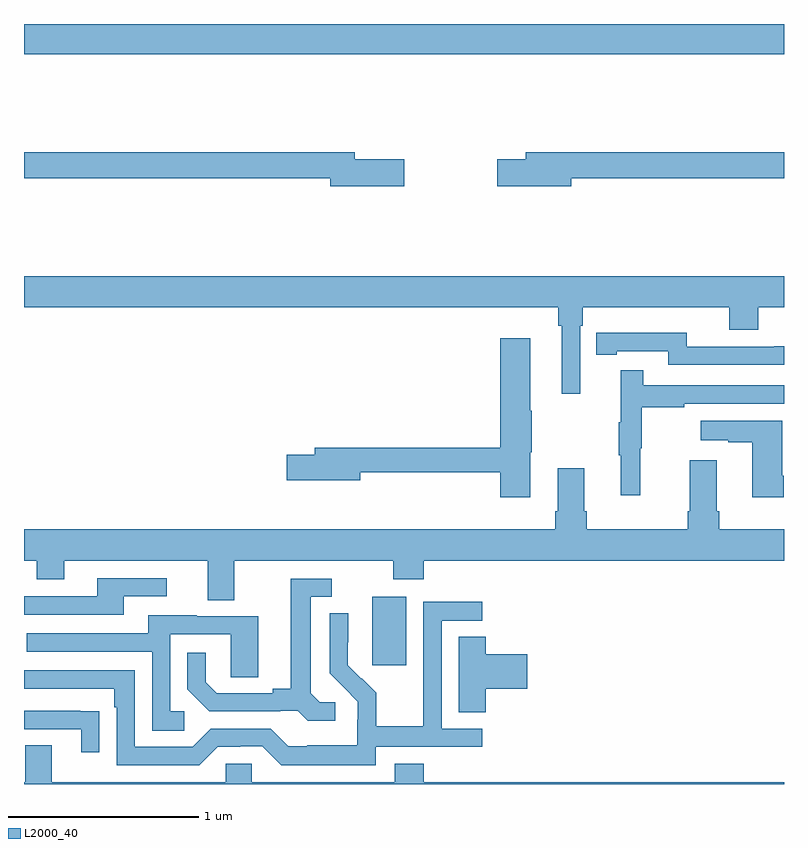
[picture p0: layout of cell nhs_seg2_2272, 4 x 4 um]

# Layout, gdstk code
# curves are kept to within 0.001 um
import gdstk
lib = gdstk.Library(unit=1e-6, precision=1e-09)
def R(c, l, rs):  # rectangles x0, y0, x1, y1
    for r in rs: c.add(gdstk.rectangle(r[:2], r[2:], *l))
def P(c, l, *ps):  # polygons
    for p in ps: c.add(gdstk.Polygon(p, *l))
L2000_40 = (2000, 40)

nhs_seg2_2272 = lib.new_cell('nhs_seg2_2272')
R(nhs_seg2_2272, L2000_40, [(230.834,640.425,231.013,640.786), (229,643.64,233,643.8)])
P(nhs_seg2_2272, L2000_40, [(231.001,643.088),(230.74,643.088),(230.74,643.124),(229,643.124),(229,642.988),(230.612,642.988),(230.612,642.946),(231.001,642.946)],
  [(231.88,642.988),(233,642.988),(233,643.124),(231.641,643.124),(231.641,643.088),(231.492,643.088),(231.492,642.946),(231.88,642.946)],
  [(231.927,642.212),(231.941,642.212),(231.941,642.308),(232.712,642.308),(232.712,642.191),(232.865,642.191),(232.865,642.308),(233,642.308),(233,642.472),(229,642.472),(229,642.308),(231.811,642.308),(231.811,642.212),(231.83,642.212),(231.83,641.853),(231.927,641.853)],
  [(233,642.104),(232.948,642.104),(232.948,642.102),(232.488,642.102),(232.488,642.175),(232.12,642.175),(232.12,642.174),(232.012,642.174),(232.012,642.058),(232.12,642.058),(232.12,642.078),(232.392,642.078),(232.392,642.006),(233,642.006)],
  [(231.664,641.547),(231.672,641.547),(231.672,641.765),(231.664,641.765),(231.664,642.145),(231.506,642.145),(231.506,641.57),(230.531,641.57),(230.531,641.534),(230.382,641.534),(230.382,641.399),(230.77,641.399),(230.77,641.442),(231.506,641.442),(231.506,641.31),(231.664,641.31)],
  [(232.244,641.568),(232.252,641.568),(232.252,641.782),(232.475,641.782),(232.475,641.802),(233,641.802),(233,641.898),(232.259,641.898),(232.259,641.977),(232.142,641.977),(232.142,641.705),(232.131,641.705),(232.131,641.531),(232.142,641.531),(232.142,641.319),(232.244,641.319)],
  [(232.998,641.422),(232.99,641.422),(232.99,641.713),(232.563,641.713),(232.563,641.609),(232.706,641.609),(232.706,641.599),(232.832,641.599),(232.832,641.31),(232.998,641.31)],
  [(232.645,641.236),(232.645,641.503),(232.505,641.503),(232.505,641.236),(232.493,641.236),(232.493,641.14),(231.962,641.14),(231.962,641.236),(231.949,641.236),(231.949,641.461),(231.809,641.461),(231.809,641.236),(231.797,641.236),(231.797,641.14),(229,641.14),(229,640.976),(229.066,640.976),(229.066,640.877),(229.213,640.877),(229.213,640.976),(229.967,640.976),(229.967,640.768),(230.107,640.768),(230.107,640.976),(230.944,640.976),(230.944,640.877),(231.104,640.877),(231.104,640.976),(233,640.976),(233,641.14),(232.658,641.14),(232.658,641.236)],
  [(229.525,640.788),(229.75,640.788),(229.75,640.884),(229.385,640.884),(229.385,640.788),(229,640.788),(229,640.692),(229.525,640.692)],
  [(230.638,640.23),(230.556,640.23),(230.509,640.277),(230.509,640.785),(230.62,640.785),(230.62,640.881),(230.405,640.881),(230.405,640.301),(230.309,640.301),(230.309,640.278),(230.014,640.278),(229.957,640.335),(229.957,640.492),(229.86,640.492),(229.86,640.298),(229.976,640.182),(230.348,640.182),(230.348,640.185),(230.442,640.185),(230.494,640.133),(230.638,640.133)],
  [(230.85,639.996),(231.412,639.996),(231.412,640.092),(231.198,640.092),(231.198,640.659),(231.412,640.659),(231.412,640.758),(231.102,640.758),(231.102,640.328),(231.1,640.328),(231.1,640.105),(230.855,640.105),(230.855,640.279),(230.778,640.356),(230.775,640.353),(230.705,640.424),(230.706,640.7),(230.61,640.7),(230.61,640.382),(230.756,640.234),(230.756,640.137),(230.754,640.137),(230.754,640.003),(230.491,640.003),(230.491,639.999),(230.391,639.999),(230.298,640.092),(229.983,640.092),(229.887,639.996),(229.584,639.996),(229.584,640.398),(229,640.398),(229,640.302),(229.475,640.302),(229.475,640.205),(229.488,640.205),(229.488,639.9),(229.923,639.9),(230.019,639.996),(230.138,639.996),(230.138,639.999),(230.253,639.999),(230.353,639.899),(230.85,639.899)],
  [(229.843,640.182),(229.77,640.182),(229.77,640.587),(230.088,640.587),(230.088,640.363),(230.233,640.363),(230.233,640.683),(229.909,640.683),(229.909,640.687),(229.655,640.687),(229.655,640.593),(229.015,640.593),(229.015,640.497),(229.674,640.497),(229.674,640.081),(229.843,640.081)],
  [(231.431,640.301),(231.649,640.301),(231.649,640.484),(231.431,640.484),(231.431,640.574),(231.287,640.574),(231.287,640.177),(231.431,640.177)],
  [(229.397,640.184),(229.295,640.184),(229.295,640.185),(229,640.185),(229,640.089),(229.301,640.089),(229.301,639.966),(229.397,639.966)],
  [(233,639.808),(231.104,639.808),(231.104,639.907),(230.951,639.907),(230.951,639.808),(230.199,639.808),(230.199,639.906),(230.061,639.906),(230.061,639.808),(229.147,639.808),(229.147,640.003),(229.007,640.003),(229.007,639.808),(229,639.808),(229,639.8),(233,639.8)])

lib.write_gds('nhs_seg2_2272.gds')
